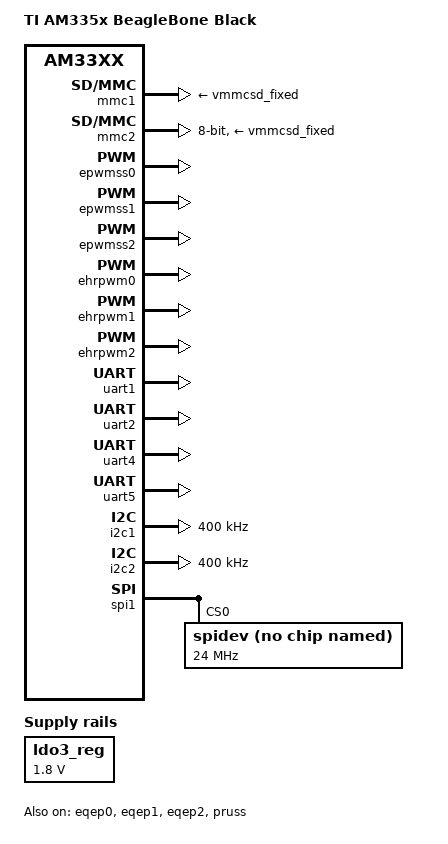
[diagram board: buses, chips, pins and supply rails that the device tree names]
/*
 * Copyright (C) 2012 Texas Instruments Incorporated - http://www.ti.com/
 *
 * This program is free software; you can redistribute it and/or modify
 * it under the terms of the GNU General Public License version 2 as
 * published by the Free Software Foundation.
 */

 /******************************************************************************
 * This device tree serves to replace the need for an overlay when using
 * the RoboticsCape. It is similar to the boneblue tree but preserves
 * pin config for the black.
 ******************************************************************************/


/dts-v1/;

#include "am33xx.dtsi"
#include "am335x-bone-common-no-capemgr.dtsi"
#include "am335x-bone-common-universal-pins.dtsi"
#include "am33xx-pruss-rproc.dtsi"

/ {
	model = "TI AM335x BeagleBone Black";
	compatible = "ti,am335x-bone-black", "ti,am335x-bone", "ti,am33xx";
};

&ldo3_reg {
	regulator-min-microvolt = <1800000>;
	regulator-max-microvolt = <1800000>;
	regulator-always-on;
};

&mmc1 {
	vmmc-supply = <&vmmcsd_fixed>;
};

&mmc2 {
	vmmc-supply = <&vmmcsd_fixed>;
	pinctrl-names = "default";
	pinctrl-0 = <&emmc_pins>;
	bus-width = <8>;
	status = "okay";
};

&cpu0_opp_table {
	/*
	 * All PG 2.0 silicon may not support 1GHz but some of the early
	 * BeagleBone Blacks have PG 2.0 silicon which is guaranteed
	 * to support 1GHz OPP so enable it for PG 2.0 on this board.
	 */
	oppnitro@1000000000 {
		opp-supported-hw = <0x06 0x0100>;
	};
};

/*******************************************************************************
* Pin Muxing
* Unlike Cape overlay, only a few GPIO pins are set up here. Therest are
* configured by the remaining fragements as references to
* am335x-bone-common-universal-pins.dtsi
*******************************************************************************/
&am33xx_pinmux {

	mux_helper_pins: pins {
		pinctrl-single,pins = <

			/* GPIO Input Pullup */
			0x09c 0x37	/*P8.9  T6  PAUSE_BTN */
			0x098 0x37	/*P8.10 U6  MODE_BTN  */
			0x1AC 0x37	/*P9.25 A14 IMU_INT   */

			/* LEDs*/
			0x090 0x0F	/* P8.7 R7 LED_RED */
			0x094 0x0F	/* P8.8 T7 LED_GREEN */
			0x028 0x0F	/*P8.14 T11 BATT_LED_4 */
			0x02C 0x0F	/*P8.17 U12 BATT_LED_1 */
			0x08c 0x0F	/*P8.18 V12 BATT_LED_2 */
			0x07c 0x0F	/*P8.26 V6  BATT_LED_3 */
		>;
	};

};


/*******************************************************************************
* Activate the above list of mux_help_pins
* and enable userspace control of other pins we wish to be configurable
*******************************************************************************/
&ocp {

	test_helper: helper {
		compatible = "bone-pinmux-helper";
		pinctrl-names = "default";
		pinctrl-0 = <&mux_helper_pins>;

		status = "okay";
	};

	/* DSM2 Pins */
	P9_11_pinmux {
		compatible = "bone-pinmux-helper";
		status = "okay";
		pinctrl-names = "default", "gpio", "gpio_pu", "gpio_pd", "uart";

		pinctrl-0 = <&P9_11_default_pin>;
		pinctrl-1 = <&P9_11_gpio_pin>;
		pinctrl-2 = <&P9_11_gpio_pu_pin>;
		pinctrl-3 = <&P9_11_gpio_pd_pin>;
		pinctrl-4 = <&P9_11_uart_pin>;
	};

	/* GPS UART header pins */
	P9_21_pinmux {
        compatible = "bone-pinmux-helper";
        status = "okay";
        pinctrl-names = "default", "gpio", "gpio_pu", "gpio_pd", "spi", "uart", "i2c", "pwm";
        pinctrl-0 = <&P9_21_default_pin>;
        pinctrl-1 = <&P9_21_gpio_pin>;
        pinctrl-2 = <&P9_21_gpio_pu_pin>;
        pinctrl-3 = <&P9_21_gpio_pd_pin>;
        pinctrl-4 = <&P9_21_spi_pin>;
        pinctrl-5 = <&P9_21_uart_pin>;
        pinctrl-6 = <&P9_21_i2c_pin>;
        pinctrl-7 = <&P9_21_pwm_pin>;
    };

    P9_22_pinmux {
        compatible = "bone-pinmux-helper";
        status = "okay";
        pinctrl-names = "default", "gpio", "gpio_pu", "gpio_pd", "spi", "uart", "i2c", "pwm";
        pinctrl-0 = <&P9_22_default_pin>;
        pinctrl-1 = <&P9_22_gpio_pin>;
        pinctrl-2 = <&P9_22_gpio_pu_pin>;
        pinctrl-3 = <&P9_22_gpio_pd_pin>;
        pinctrl-4 = <&P9_22_spi_pin>;
        pinctrl-5 = <&P9_22_uart_pin>;
        pinctrl-6 = <&P9_22_i2c_pin>;
        pinctrl-7 = <&P9_22_pwm_pin>;
    };

    /* SPI Header Pins */
	P9_28_pinmux {
        compatible = "bone-pinmux-helper";
        status = "okay";
        pinctrl-names = "default", "gpio", "gpio_pu", "gpio_pd", "pwm", "spi", "pwm2", "pruout", "pruin";
        pinctrl-0 = <&P9_28_default_pin>;
        pinctrl-1 = <&P9_28_gpio_pin>;
        pinctrl-2 = <&P9_28_gpio_pu_pin>;
        pinctrl-3 = <&P9_28_gpio_pd_pin>;
        pinctrl-4 = <&P9_28_pwm_pin>;
        pinctrl-5 = <&P9_28_spi_pin>;
        pinctrl-6 = <&P9_28_pwm2_pin>;
        pinctrl-7 = <&P9_28_pruout_pin>;
        pinctrl-8 = <&P9_28_pruin_pin>;
    };

    P9_29_pinmux {
        compatible = "bone-pinmux-helper";
        status = "okay";
        pinctrl-names = "default", "gpio", "gpio_pu", "gpio_pd", "pwm", "spi", "pruout", "pruin";
        pinctrl-0 = <&P9_29_default_pin>;
        pinctrl-1 = <&P9_29_gpio_pin>;
        pinctrl-2 = <&P9_29_gpio_pu_pin>;
        pinctrl-3 = <&P9_29_gpio_pd_pin>;
        pinctrl-4 = <&P9_29_pwm_pin>;
        pinctrl-5 = <&P9_29_spi_pin>;
        pinctrl-6 = <&P9_29_pruout_pin>;
        pinctrl-7 = <&P9_29_pruin_pin>;
    };

    P9_30_pinmux {
        compatible = "bone-pinmux-helper";
        status = "okay";
        pinctrl-names = "default", "gpio", "gpio_pu", "gpio_pd", "pwm", "spi", "pruout", "pruin";
        pinctrl-0 = <&P9_30_default_pin>;
        pinctrl-1 = <&P9_30_gpio_pin>;
        pinctrl-2 = <&P9_30_gpio_pu_pin>;
        pinctrl-3 = <&P9_30_gpio_pd_pin>;
        pinctrl-4 = <&P9_30_pwm_pin>;
        pinctrl-5 = <&P9_30_spi_pin>;
        pinctrl-6 = <&P9_30_pruout_pin>;
        pinctrl-7 = <&P9_30_pruin_pin>;
    };

    P9_31_pinmux {
        compatible = "bone-pinmux-helper";
        status = "okay";
        pinctrl-names = "default", "gpio", "gpio_pu", "gpio_pd", "pwm", "spi", "pruout", "pruin";
        pinctrl-0 = <&P9_31_default_pin>;
        pinctrl-1 = <&P9_31_gpio_pin>;
        pinctrl-2 = <&P9_31_gpio_pu_pin>;
        pinctrl-3 = <&P9_31_gpio_pd_pin>;
        pinctrl-4 = <&P9_31_pwm_pin>;
        pinctrl-5 = <&P9_31_spi_pin>;
        pinctrl-6 = <&P9_31_pruout_pin>;
        pinctrl-7 = <&P9_31_pruin_pin>;
    };

    /* uart 1 / can */
     P9_24_pinmux {
        compatible = "bone-pinmux-helper";
        status = "okay";
        pinctrl-names = "default", "gpio", "gpio_pu", "gpio_pd", "uart", "can", "i2c",  "pruin";
        pinctrl-0 = <&P9_24_default_pin>;
        pinctrl-1 = <&P9_24_gpio_pin>;
        pinctrl-2 = <&P9_24_gpio_pu_pin>;
        pinctrl-3 = <&P9_24_gpio_pd_pin>;
        pinctrl-4 = <&P9_24_uart_pin>;
        pinctrl-5 = <&P9_24_can_pin>;
        pinctrl-6 = <&P9_24_i2c_pin>;
        pinctrl-7 = <&P9_24_pruin_pin>;
    };

    P9_26_pinmux {
        compatible = "bone-pinmux-helper";
        status = "okay";
        pinctrl-names = "default", "gpio", "gpio_pu", "gpio_pd", "uart", "can", "i2c",  "pruin";
        pinctrl-0 = <&P9_26_default_pin>;
        pinctrl-1 = <&P9_26_gpio_pin>;
        pinctrl-2 = <&P9_26_gpio_pu_pin>;
        pinctrl-3 = <&P9_26_gpio_pd_pin>;
        pinctrl-4 = <&P9_26_uart_pin>;
        pinctrl-5 = <&P9_26_can_pin>;
        pinctrl-6 = <&P9_26_i2c_pin>;
        pinctrl-7 = <&P9_26_pruin_pin>;
    };


};


/*******************************************************************************
* PWMSS
*******************************************************************************/
&epwmss0 {
	status = "okay";
};

&epwmss1 {
	status = "okay";
};

&epwmss2 {
	status = "okay";
};

&ehrpwm0 {
	status = "okay";
};

/*******************************************************************************
* PWM and Motor GPIO Pins
*******************************************************************************/
&ehrpwm1 {
	pinctrl-names = "default";
	pinctrl-0 = <
		&P9_14_pwm_pin /*PWM_1A*/
		&P9_16_pwm_pin /*PWM_1B*/
		&P9_12_gpio_pin	/*MDIR_1A*/
		&P9_13_gpio_pin	/*MDIR_1B*/
		&P9_14_gpio_pin	/*PWM_1A*/
		&P9_15_gpio_pin	/*MDIR_2A*/
		&P8_34_gpio_pin	/*MDIR_2B*/
		&P9_41_gpio_pin	/*MOT_STBY*/
	>;
	status = "okay";
};

&ehrpwm2 {
	pinctrl-names = "default";
	pinctrl-0 = <
		&P8_19_pwm_pin 	/*PWM_2A*/
		&P8_13_pwm_pin  /*PWM_2B*/
		&P8_43_gpio_pin	/*MDIR_3B*/
		&P8_44_gpio_pin	/*MDIR_3A*/
		&P8_45_gpio_pin	/*MDIR_4A*/
		&P8_46_gpio_pin	/*MDIR_4B*/
	>;
	status = "okay";
};

/*******************************************************************************
* EQEP
*******************************************************************************/
&eqep0 {
	pinctrl-names = "default";
	pinctrl-0 = <
		&P9_92_qep_pin
		&P9_27_qep_pin
	>;

	count_mode = <0>;  /* 0 - Quadrature mode, normal 90 phase offset cha & chb.  1 - Direction mode.  cha input = clock, chb input = direction */
	swap_inputs = <0>; /* Are channel A and channel B swapped? (0 - no, 1 - yes) */
	invert_qa = <1>;   /* Should we invert the channel A input?  */
	invert_qb = <1>;   /* Should we invert the channel B input? I invert these because my encoder outputs drive transistors that pull down the pins */
	invert_qi = <0>;   /* Should we invert the index input? */
	invert_qs = <0>;   /* Should we invert the strobe input? */

	status = "okay";
};

&eqep1 {
	pinctrl-names = "default";
	pinctrl-0 = <
		&P8_33_qep_pin
		&P8_35_qep_pin
	>;

	count_mode = <0>;  /* 0 - Quadrature mode, normal 90 phase offset cha & chb.  1 - Direction mode.  cha input = clock, chb input = direction */
	swap_inputs = <0>; /* Are channel A and channel B swapped? (0 - no, 1 - yes) */
	invert_qa = <1>;   /* Should we invert the channel A input?  */
	invert_qb = <1>;   /* Should we invert the channel B input? I invert these because my encoder outputs drive transistors that pull down the pins */
	invert_qi = <0>;   /* Should we invert the index input? */
	invert_qs = <0>;   /* Should we invert the strobe input? */

	status = "okay";
};

&eqep2 {
	pinctrl-names = "default";
	pinctrl-0 = <&P8_12_qep_pin &P8_11_qep_pin>;

	count_mode = <0>;  /* 0 - Quadrature mode, normal 90 phase offset cha & chb.  1 - Direction mode.  cha input = clock, chb input = direction */
	swap_inputs = <0>; /* Are channel A and channel B swapped? (0 - no, 1 - yes) */
	invert_qa = <1>;   /* Should we invert the channel A input?  */
	invert_qb = <1>;   /* Should we invert the channel B input? I invert these because my encoder outputs drive transistors that pull down the pins */
	invert_qi = <0>;   /* Should we invert the index input? */
	invert_qs = <0>;   /* Should we invert the strobe input? */

	status = "okay";
};


/*******************************************************************************
* UART
*******************************************************************************/
&uart1 {
	pinctrl-names = "default";
	pinctrl-0 = <
		&P9_24_uart_pin	/* uart1_txd */
		&P9_26_uart_pin	/* uart1_rxd */
	>;
	status = "okay";
};

&uart2 {
	pinctrl-names = "default";
	pinctrl-0 = <
		&P9_21_uart_pin	/* uart2_txd */
		&P9_22_uart_pin	/* uart2_rxd */
	>;
	status = "okay";
};

&uart4 {
	status = "okay";
};

&uart5 {
	pinctrl-names = "default";
	pinctrl-0 = <
		&P8_37_uart_pin	/* uart5_txd */
		&P8_38_uart_pin	/* uart5_rxd */
	>;
	status = "okay";
};


/*******************************************************************************
* PRU Encoder and Servos
*******************************************************************************/
&pruss {
	pinctrl-0 = <
		&P8_15_pruin_pin 	/* PRU_ENCODER_B */
		&P8_16_pruin_pin 	/* PRU_ENCODER_A */
		&P8_27_pruout_pin	/* SERVO_1 */
		&P8_28_pruout_pin	/* SERVO_2 */
		&P8_29_pruout_pin	/* SERVO_3 */
		&P8_30_pruout_pin	/* SERVO_4 */
		&P8_39_pruout_pin	/* SERVO_5 */
		&P8_40_pruout_pin	/* SERVO_6 */
		&P8_41_pruout_pin	/* SERVO_7 */
		&P8_42_pruout_pin	/* SERVO_8 */
		&P8_36_gpio_pin		/* SERVO_PWR */
	>;
	status = "okay";
};


/*******************************************************************************
* I2C
*******************************************************************************/
&i2c1 {
	pinctrl-names = "default";
	pinctrl-0 = <
		&P9_17_i2c_pin
		&P9_18_i2c_pin
	>;
	status = "okay";

	/* this is the configuration part */
	clock-frequency = <400000>;

	#address-cells = <1>;
	#size-cells = <0>;
};

&i2c2 {
	pinctrl-names = "default";
	pinctrl-0 = <
		&P9_19_i2c_pin
		&P9_20_i2c_pin
	>;

	status = "okay";
	clock-frequency = <400000>;

	#address-cells = <1>;
	#size-cells = <0>;
};


/*******************************************************************************
* SPI
*******************************************************************************/
&spi1 {
	pinctrl-names = "default";
	pinctrl-0 = <&P9_31_spi_pin	/* spi1_sclk */
		&P9_29_spi_pin		/* spi1_d0 */
		&P9_30_spi_pin		/* spi1_d1 */
		&P9_23_gpio_pu_pin	/* gpio1.17 ss2 */
		&P9_28_gpio_pu_pin	/* gpio3.17 ss1 */
	>;

	#address-cells = <1>;
	#size-cells = <0>;
	status = "okay";

	spidev@1 {
		spi-max-frequency = <24000000>;
		reg = <0>;
		compatible = "linux,spidev";
	};
};
